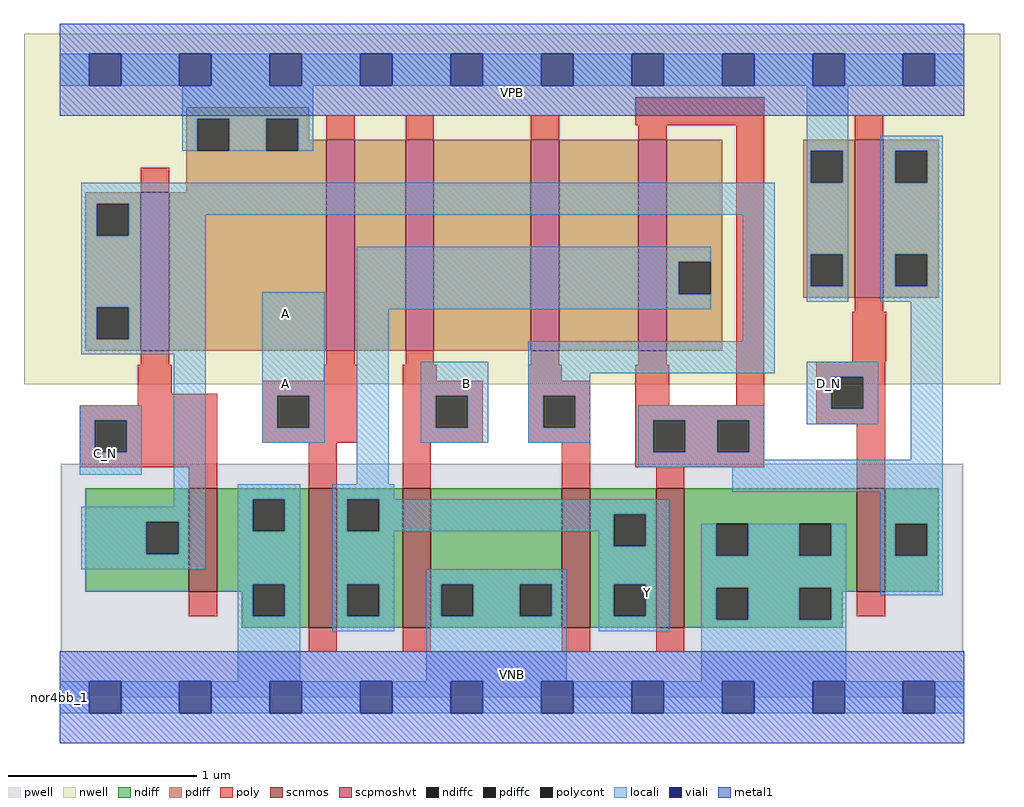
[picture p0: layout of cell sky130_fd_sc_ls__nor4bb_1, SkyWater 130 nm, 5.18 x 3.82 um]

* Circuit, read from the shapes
.subckt sky130_fd_sc_ls__nor4bb_1 A B C_N D_N VGND VNB VPB VPWR Y
XM1 VGND C_N n1 VNB sky130_fd_pr__nfet_01v8 w=0.55 l=0.15
XM2 Y A VGND VNB sky130_fd_pr__nfet_01v8 w=0.74 l=0.15
XM3 VGND B Y VNB sky130_fd_pr__nfet_01v8 w=0.74 l=0.15
XM4 Y n1 VGND VNB sky130_fd_pr__nfet_01v8 w=0.74 l=0.15
XM5 VGND n2 Y VNB sky130_fd_pr__nfet_01v8 w=0.74 l=0.15
XM6 n2 D_N VGND VNB sky130_fd_pr__nfet_01v8 w=0.55 l=0.15
XM7 VPWR C_N n1 VPB sky130_fd_pr__pfet_01v8_hvt w=0.84 l=0.15
XM8 n3 A VPWR VPB sky130_fd_pr__pfet_01v8_hvt w=1.12 l=0.15
XM9 n4 B n3 VPB sky130_fd_pr__pfet_01v8_hvt w=1.12 l=0.15
XM10 n5 n1 n4 VPB sky130_fd_pr__pfet_01v8_hvt w=1.12 l=0.15
XM11 Y n2 n5 VPB sky130_fd_pr__pfet_01v8_hvt w=1.12 l=0.15
XM12 n2 D_N VPWR VPB sky130_fd_pr__pfet_01v8_hvt w=0.84 l=0.15
.ends

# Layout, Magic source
magic
tech sky130A
magscale 1 2
<< nwell >>
rect -38 332 998 704
<< pwell >>
rect 1 49 959 248
rect 0 0 960 49
<< scnmos >>
rect 137 112 167 222
rect 264 74 294 222
rect 364 74 394 222
rect 533 74 563 222
rect 633 74 663 222
rect 846 112 876 222
<< scpmoshvt >>
rect 86 368 116 536
rect 283 368 313 592
rect 367 368 397 592
rect 500 368 530 592
rect 614 368 644 592
rect 844 424 874 592
<< ndiff >>
rect 27 186 137 222
rect 27 152 92 186
rect 126 152 137 186
rect 27 112 137 152
rect 167 210 264 222
rect 167 176 205 210
rect 239 176 264 210
rect 167 120 264 176
rect 167 112 205 120
rect 193 86 205 112
rect 239 86 264 120
rect 193 74 264 86
rect 294 210 364 222
rect 294 176 305 210
rect 339 176 364 210
rect 294 120 364 176
rect 294 86 305 120
rect 339 86 364 120
rect 294 74 364 86
rect 394 120 533 222
rect 394 86 405 120
rect 439 86 488 120
rect 522 86 533 120
rect 394 74 533 86
rect 563 194 633 222
rect 563 160 588 194
rect 622 160 633 194
rect 563 120 633 160
rect 563 86 588 120
rect 622 86 633 120
rect 563 74 633 86
rect 663 184 846 222
rect 663 150 697 184
rect 731 150 785 184
rect 819 150 846 184
rect 663 116 846 150
rect 663 82 697 116
rect 731 82 785 116
rect 819 112 846 116
rect 876 184 933 222
rect 876 150 887 184
rect 921 150 933 184
rect 876 112 933 150
rect 819 82 831 112
rect 663 74 831 82
<< pdiff >>
rect 134 614 265 626
rect 134 580 146 614
rect 180 580 219 614
rect 253 592 265 614
rect 253 580 283 592
rect 134 536 283 580
rect 27 524 86 536
rect 27 490 39 524
rect 73 490 86 524
rect 27 414 86 490
rect 27 380 39 414
rect 73 380 86 414
rect 27 368 86 380
rect 116 368 283 536
rect 313 368 367 592
rect 397 368 500 592
rect 530 368 614 592
rect 644 462 703 592
rect 644 428 657 462
rect 691 428 703 462
rect 644 368 703 428
rect 789 580 844 592
rect 789 546 797 580
rect 831 546 844 580
rect 789 470 844 546
rect 789 436 797 470
rect 831 436 844 470
rect 789 424 844 436
rect 874 580 933 592
rect 874 546 887 580
rect 921 546 933 580
rect 874 470 933 546
rect 874 436 887 470
rect 921 436 933 470
rect 874 424 933 436
<< ndiffc >>
rect 92 152 126 186
rect 205 176 239 210
rect 205 86 239 120
rect 305 176 339 210
rect 305 86 339 120
rect 405 86 439 120
rect 488 86 522 120
rect 588 160 622 194
rect 588 86 622 120
rect 697 150 731 184
rect 785 150 819 184
rect 697 82 731 116
rect 785 82 819 116
rect 887 150 921 184
<< pdiffc >>
rect 146 580 180 614
rect 219 580 253 614
rect 39 490 73 524
rect 39 380 73 414
rect 657 428 691 462
rect 797 546 831 580
rect 797 436 831 470
rect 887 546 921 580
rect 887 436 921 470
<< poly >>
rect 283 592 313 618
rect 367 592 397 618
rect 500 592 530 618
rect 611 607 748 637
rect 614 592 644 607
rect 86 536 116 562
rect 86 353 116 368
rect 283 353 313 368
rect 367 353 397 368
rect 500 353 530 368
rect 614 353 644 368
rect 83 322 119 353
rect 280 336 316 353
rect 83 310 167 322
rect 21 294 167 310
rect 21 260 37 294
rect 71 260 167 294
rect 215 320 316 336
rect 215 286 231 320
rect 265 286 316 320
rect 215 270 316 286
rect 364 336 400 353
rect 497 336 533 353
rect 364 320 449 336
rect 364 286 399 320
rect 433 286 449 320
rect 364 270 449 286
rect 497 320 563 336
rect 497 286 513 320
rect 547 286 563 320
rect 497 270 563 286
rect 21 244 167 260
rect 137 222 167 244
rect 264 222 294 270
rect 364 222 394 270
rect 533 222 563 270
rect 611 310 647 353
rect 718 310 748 607
rect 844 592 874 618
rect 844 409 874 424
rect 841 356 877 409
rect 611 294 748 310
rect 611 260 630 294
rect 664 260 698 294
rect 732 260 748 294
rect 803 340 876 356
rect 803 306 819 340
rect 853 306 876 340
rect 803 290 876 306
rect 611 244 748 260
rect 633 222 663 244
rect 846 222 876 290
rect 137 86 167 112
rect 846 86 876 112
rect 264 48 294 74
rect 364 48 394 74
rect 533 48 563 74
rect 633 48 663 74
<< polycont >>
rect 37 260 71 294
rect 231 286 265 320
rect 399 286 433 320
rect 513 286 547 320
rect 630 260 664 294
rect 698 260 732 294
rect 819 306 853 340
<< locali >>
rect 0 649 31 683
rect 65 649 127 683
rect 161 649 223 683
rect 257 649 319 683
rect 353 649 415 683
rect 449 649 511 683
rect 545 649 607 683
rect 641 649 703 683
rect 737 649 799 683
rect 833 649 895 683
rect 929 649 960 683
rect 130 614 269 649
rect 130 580 146 614
rect 180 580 219 614
rect 253 580 269 614
rect 793 580 837 649
rect 793 546 797 580
rect 831 546 837 580
rect 23 524 759 546
rect 23 490 39 524
rect 73 512 759 524
rect 73 490 155 512
rect 23 414 155 490
rect 315 462 691 478
rect 23 380 39 414
rect 73 380 155 414
rect 23 364 155 380
rect 21 294 87 310
rect 21 260 37 294
rect 71 260 87 294
rect 21 236 87 260
rect 121 202 155 364
rect 215 320 281 430
rect 215 286 231 320
rect 265 286 281 320
rect 215 270 281 286
rect 315 428 657 462
rect 315 412 691 428
rect 315 226 349 412
rect 725 378 759 512
rect 793 470 837 546
rect 793 436 797 470
rect 831 436 837 470
rect 793 420 837 436
rect 871 580 937 596
rect 871 546 887 580
rect 921 546 937 580
rect 871 470 937 546
rect 871 436 887 470
rect 921 436 937 470
rect 871 420 937 436
rect 383 320 455 356
rect 383 286 399 320
rect 433 286 455 320
rect 383 270 455 286
rect 497 344 759 378
rect 497 320 563 344
rect 497 286 513 320
rect 547 286 563 320
rect 793 340 869 356
rect 497 270 563 286
rect 614 294 748 310
rect 614 260 630 294
rect 664 260 698 294
rect 732 260 748 294
rect 793 306 819 340
rect 853 306 869 340
rect 793 290 869 306
rect 614 252 748 260
rect 903 252 937 420
rect 614 244 937 252
rect 23 186 155 202
rect 23 152 92 186
rect 126 152 155 186
rect 23 136 155 152
rect 189 210 255 226
rect 189 176 205 210
rect 239 176 255 210
rect 189 120 255 176
rect 189 86 205 120
rect 239 86 255 120
rect 189 17 255 86
rect 289 210 355 226
rect 714 218 937 244
rect 289 176 305 210
rect 339 194 647 210
rect 339 176 588 194
rect 289 120 355 176
rect 572 160 588 176
rect 622 160 647 194
rect 871 184 937 218
rect 289 86 305 120
rect 339 86 355 120
rect 289 70 355 86
rect 389 120 538 136
rect 389 86 405 120
rect 439 86 488 120
rect 522 86 538 120
rect 389 17 538 86
rect 572 120 647 160
rect 572 86 588 120
rect 622 86 647 120
rect 572 70 647 86
rect 681 150 697 184
rect 731 150 785 184
rect 819 150 835 184
rect 681 116 835 150
rect 681 82 697 116
rect 731 82 785 116
rect 819 82 835 116
rect 871 150 887 184
rect 921 150 937 184
rect 871 108 937 150
rect 681 17 835 82
rect 0 -17 31 17
rect 65 -17 127 17
rect 161 -17 223 17
rect 257 -17 319 17
rect 353 -17 415 17
rect 449 -17 511 17
rect 545 -17 607 17
rect 641 -17 703 17
rect 737 -17 799 17
rect 833 -17 895 17
rect 929 -17 960 17
<< viali >>
rect 31 649 65 683
rect 127 649 161 683
rect 223 649 257 683
rect 319 649 353 683
rect 415 649 449 683
rect 511 649 545 683
rect 607 649 641 683
rect 703 649 737 683
rect 799 649 833 683
rect 895 649 929 683
rect 31 -17 65 17
rect 127 -17 161 17
rect 223 -17 257 17
rect 319 -17 353 17
rect 415 -17 449 17
rect 511 -17 545 17
rect 607 -17 641 17
rect 703 -17 737 17
rect 799 -17 833 17
rect 895 -17 929 17
<< metal1 >>
rect 0 683 960 715
rect 0 649 31 683
rect 65 649 127 683
rect 161 649 223 683
rect 257 649 319 683
rect 353 649 415 683
rect 449 649 511 683
rect 545 649 607 683
rect 641 649 703 683
rect 737 649 799 683
rect 833 649 895 683
rect 929 649 960 683
rect 0 617 960 649
rect 0 17 960 49
rect 0 -17 31 17
rect 65 -17 127 17
rect 161 -17 223 17
rect 257 -17 319 17
rect 353 -17 415 17
rect 449 -17 511 17
rect 545 -17 607 17
rect 641 -17 703 17
rect 737 -17 799 17
rect 833 -17 895 17
rect 929 -17 960 17
rect 0 -49 960 -17
<< labels >>
rlabel comment s 0 0 0 0 4 nor4bb_1
flabel pwell s 0 0 960 49 0 FreeSans 200 0 0 0 VNB
port 6 nsew ground bidirectional
flabel nwell s 0 617 960 666 0 FreeSans 200 0 0 0 VPB
port 7 nsew power bidirectional
flabel metal1 s 0 617 960 666 0 FreeSans 340 0 0 0 VPWR
port 8 nsew power bidirectional abutment
flabel metal1 s 0 0 960 49 0 FreeSans 340 0 0 0 VGND
port 5 nsew ground bidirectional abutment
flabel locali s 799 316 833 350 0 FreeSans 340 0 0 0 D_N
port 4 nsew signal input
flabel locali s 31 242 65 276 0 FreeSans 340 0 0 0 C_N
port 3 nsew signal input
flabel locali s 415 316 449 350 0 FreeSans 340 0 0 0 B
port 2 nsew signal input
flabel locali s 223 316 257 350 0 FreeSans 340 0 0 0 A
port 1 nsew signal input
flabel locali s 223 390 257 424 0 FreeSans 340 0 0 0 A
port 1 nsew signal input
flabel locali s 607 94 641 128 0 FreeSans 340 0 0 0 Y
port 9 nsew signal output
<< properties >>
string LEFsite unit
string LEFclass CORE
string FIXED_BBOX 0 0 960 666
string GDS_FILE $PDKPATH/libs.ref/sky130_fd_sc_ls/gds/sky130_fd_sc_ls.gds
string LEFsymmetry X Y
string GDS_END 1789520
string GDS_START 1782058
<< end >>
